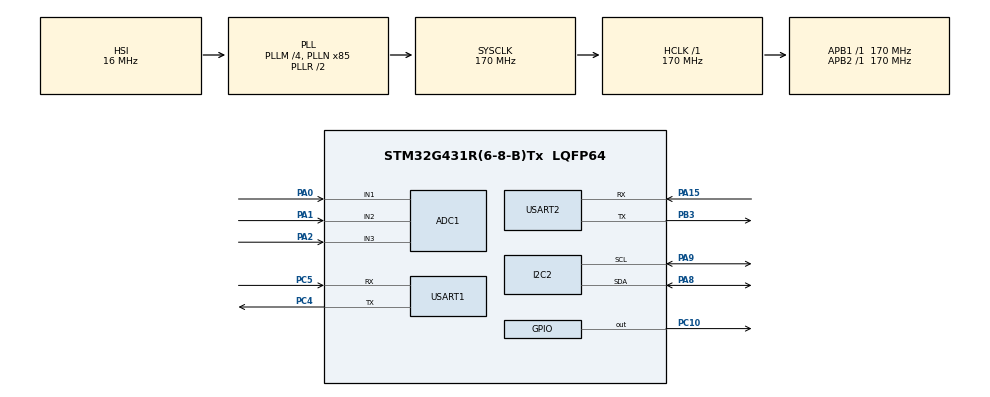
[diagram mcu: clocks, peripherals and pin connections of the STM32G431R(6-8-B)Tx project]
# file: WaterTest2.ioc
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ADC1.Channel-0\#ChannelRegularConversion=ADC_CHANNEL_1
ADC1.NbrOfConversionFlag=1
ADC1.OffsetNumber-0\#ChannelRegularConversion=ADC_OFFSET_NONE
ADC1.Rank-0\#ChannelRegularConversion=1
ADC1.SamplingTime-0\#ChannelRegularConversion=ADC_SAMPLETIME_92CYCLES_5
ADC1.master=1
I2C2.Timing=0x40B285C2
Mcu.Family=STM32G4
Mcu.Name=STM32G431R(6-8-B)Tx
Mcu.Package=LQFP64
NVIC.PriorityGroup=NVIC_PRIORITYGROUP_4
NVIC.USART1_IRQn=true\:0\:0\:false\:false\:true\:true\:true\:true
NVIC.USART2_IRQn=true\:0\:0\:false\:false\:true\:true\:true\:true
PA0.Mode=IN1-Single-Ended
PA0.Signal=ADC1_IN1
PA1.Mode=IN2-Single-Ended
PA1.Signal=ADC1_IN2
PA13.Mode=Serial_Wire
PA13.Signal=SYS_JTMS-SWDIO
PA14.Mode=Serial_Wire
PA14.Signal=SYS_JTCK-SWCLK
PA15.GPIO_Speed=GPIO_SPEED_FREQ_VERY_HIGH
PA15.Mode=Asynchronous
PA15.Signal=USART2_RX
PA2.Mode=IN3-Single-Ended
PA2.Signal=ADC1_IN3
PA8.GPIO_Speed=GPIO_SPEED_FREQ_VERY_HIGH
PA8.Mode=I2C
PA8.Signal=I2C2_SDA
PA9.GPIO_Speed=GPIO_SPEED_FREQ_VERY_HIGH
PA9.Mode=I2C
PA9.Signal=I2C2_SCL
PB3.GPIO_Speed=GPIO_SPEED_FREQ_VERY_HIGH
PB3.Mode=Asynchronous
PB3.Signal=USART2_TX
PC10.GPIO_ModeDefaultOutputPP=GPIO_MODE_OUTPUT_OD
PC10.GPIO_PuPd=GPIO_NOPULL
PC10.GPIO_Speed=GPIO_SPEED_FREQ_VERY_HIGH
PC10.Signal=GPIO_Output
PC14-OSC32_IN.Mode=LSE-External-Oscillator
PC14-OSC32_IN.Signal=RCC_OSC32_IN
PC15-OSC32_OUT.Mode=LSE-External-Oscillator
PC15-OSC32_OUT.Signal=RCC_OSC32_OUT
PC4.GPIO_Speed=GPIO_SPEED_FREQ_VERY_HIGH
PC4.Mode=Asynchronous
PC4.Signal=USART1_TX
PC5.GPIO_Speed=GPIO_SPEED_FREQ_VERY_HIGH
PC5.Mode=Asynchronous
PC5.Signal=USART1_RX
PF0-OSC_IN.Mode=HSE-External-Oscillator
PF0-OSC_IN.Signal=RCC_OSC_IN
PF1-OSC_OUT.Mode=HSE-External-Oscillator
PF1-OSC_OUT.Signal=RCC_OSC_OUT
ProjectManager.HeapSize=0x200
ProjectManager.StackSize=0x400
ProjectManager.TargetToolchain=MDK-ARM V5.32
RCC.ADC12Freq_Value=170000000
RCC.AHBFreq_Value=170000000
RCC.APB1Freq_Value=170000000
RCC.APB1TimFreq_Value=170000000
RCC.APB2Freq_Value=170000000
RCC.APB2TimFreq_Value=170000000
RCC.CortexFreq_Value=170000000
RCC.EXTERNAL_CLOCK_VALUE=12288000
RCC.HCLKFreq_Value=170000000
RCC.HSE_VALUE=16000000
RCC.HSI48_VALUE=48000000
RCC.HSI_VALUE=16000000
RCC.PLLM=RCC_PLLM_DIV4
RCC.PLLN=85
RCC.SYSCLKFreq_VALUE=170000000
RCC.SYSCLKSource=RCC_SYSCLKSOURCE_PLLCLK
RCC.USBFreq_Value=170000000
RCC.VCOOutputFreq_Value=340000000
TIM6.Prescaler=170
TIM7.PeriodNoDither=1000
TIM7.Prescaler=170
USART1.VirtualMode-Asynchronous=VM_ASYNC
USART2.VirtualMode-Asynchronous=VM_ASYNC
VP_SYS_VS_DBSignals.Mode=DisableDeadBatterySignals
VP_TIM6_VS_ClockSourceINT.Mode=Enable_Timer
VP_TIM7_VS_ClockSourceINT.Mode=Enable_Timer
board=custom

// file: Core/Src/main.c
/* USER CODE BEGIN Header */
/**
 ******************************************************************************
 * @file           : main.c
 * @brief          : Main program body
 ******************************************************************************
 * @attention
 *
 * Copyright (c) 2026 STMicroelectronics.
 * All rights reserved.
 *
 * This software is licensed under terms that can be found in the LICENSE file
 * in the root directory of this software component.
 * If no LICENSE file comes with this software, it is provided AS-IS.
 *
 ******************************************************************************
 */
/* USER CODE END Header */
#include "main.h"
#include "adc.h"
#include "i2c.h"
#include "tim.h"
#include "usart.h"
#include "gpio.h"

/* USER CODE BEGIN Includes */
#include <stdio.h>
#include <string.h>
#include "app_aht20_bmp280.h"
#include "app_debug.h"
#include "app_ds18b20.h"
#include "app_ph_sensor.h"
#include "app_tds_sensor.h"
#include "app_turbidity.h"
#include "app_json_comm.h"
/* USER CODE END Includes */

/* USER CODE BEGIN PD */
#define RX_BUFFER_SIZE 64

// 调试指令格式: 0xAA 0xAA 0xBB 0xBB (4字节序列)
#define DEBUG_CMD_BYTE0 0xAA
#define DEBUG_CMD_BYTE1 0xAA
#define DEBUG_CMD_BYTE2 0xBB
#define DEBUG_CMD_BYTE3 0xBB
/* USER CODE END PD */

/* USER CODE BEGIN PV */
// USART2接收相关变量
uint8_t usart2_rx_buffer[RX_BUFFER_SIZE];
uint16_t usart2_rx_index = 0;
uint8_t usart2_rx_complete = 0;
uint8_t cmd_rx_state = 0;       // 指令状态: 0=等AA1, 1=等AA2, 2=等BB1, 3=等BB2
uint8_t cmd_toggle_state = 0;   // 调试切换指令: 0=等CC1, 1=等CC2, 2=等CC3
uint8_t cmd_mute_state = 0;     // 静默指令: 0=等DD1, 1=等DD2, 2=等DD3
uint8_t cmd_unmute_state = 0;   // 恢复指令: 0=等EE1, 1=等EE2, 2=等EE3

volatile uint8_t tx_muted = 0;  // 0=允许USART2发送, 1=静默(禁止发送) (中断中修改)

uint8_t TestStart = 0;
uint8_t debug_mode = 0;         // 0=正常模式(周期检测), 1=调试模式(指令触发检测)

uint64_t tick_counter = 0;
uint64_t tick_heart = 0;

// 总线空闲检测：记录最后一次收到字节的时刻
uint64_t tick_last_rx = 0;

// 中断触发计数 (调试用，已注释)
// volatile uint32_t usart2_int_count = 0;

// 指令触发计数 (调试用，已注释)
// uint32_t cmd_trigger_count = 0;

// 上次发送计数器数据的时间 (调试用，已注释)
// uint32_t last_count_send_time = 0;
/* USER CODE END PV */

void SystemClock_Config(void);

int main(void)
{

  /* MCU Configuration--------------------------------------------------------*/

  /* Reset of all peripherals, Initializes the Flash interface and the Systick. */
  HAL_Init();

  /* Configure the system clock */
  SystemClock_Config();

  /* Initialize all configured peripherals */
  MX_GPIO_Init();
  MX_ADC1_Init();
  MX_I2C2_Init();
  MX_TIM6_Init();
  MX_TIM7_Init();
  MX_USART1_UART_Init();
  MX_USART2_UART_Init();
  /* USER CODE BEGIN 2 */
  // 1. 串口打印系统启动信息
  printf("\r\n--- Water Quality Monitor System Start ---\r\n");

  // 2. 初始化各传感器设备
  printf("Initializing Sensors...\r\n");

  // 初始化 TDS 传感器
  if (TDS_Init(&hadc1) == 0)
    printf("TDS Sensor: OK\r\n");
  else
    printf("TDS Sensor: FAILED\r\n");

  // 初始化 浊度 传感器
  Turbidity_Init(&hadc1);
  printf("Turbidity Sensor: OK\r\n");

  // 初始化 DS18B20 温度传感器
  if (DS18B20_Init() == 0)
    printf("DS18B20 Sensor: OK\r\n");
  else
    printf("DS18B20 Sensor: FAILED\r\n");

  // 初始化 AHT20 湿度/温度传感器
  if (AHT20_Init(&hi2c2) == 1)
    printf("AHT20 Sensor: OK\r\n");
  else
    printf("AHT20 Sensor: FAILED\r\n");

  // 初始化 BMP280 压力传感器
  if (BMP280_Init(&hi2c2) == 0x58)
    printf("BMP280 Sensor: OK\r\n");
  else
    printf("BMP280 Sensor: FAILED\r\n");

  // 初始化串口通信接收
  Comm_Init();

  // 启动USART2中断接收 (单字节模式，用于指令序列检测)
  usart2_rx_index = 0;
  usart2_rx_complete = 0;
  HAL_UART_Receive_IT(&huart2, &usart2_rx_buffer[0], 1);

  // 初始化计数变量 (调试用，已注释)
  // usart2_int_count = 0;
  // cmd_trigger_count = 0;
  // last_count_send_time = HAL_GetTick();
  tick_counter = HAL_GetTick();
  tick_heart = HAL_GetTick();
  tick_last_rx = HAL_GetTick();

  printf("Sensors Initialization Finished.\r\n\r\n");
  /* USER CODE END 2 */

  /* Infinite loop */
  /* USER CODE BEGIN WHILE */
  uint32_t last_send_time = 0;

  while (1)
  {
    // 周期性执行数据采集和发送 (间隔由 report_interval 控制)
    if (HAL_GetTick() - last_send_time >= report_interval)
    {
      last_send_time = HAL_GetTick();

      // 1. 读取水质传感数据
      float ph_val = PH_Read_Median();
      float tds_val = TDS_Read_Corrected();
      float water_temp = DS18B20_Get_Temp();

      float turbidity_val = Turbidity_Read_NTU(water_temp);

      // 2. 读取环境温湿度及气压数据
      uint32_t aht_data[2];
      float air_hum = 0, air_temp_aht = 0;
      if (AHT20_Read_CTdata(&hi2c2, aht_data) == 1)
      { // 检查成功返回1
        air_hum = (float)aht_data[0] / 1048576.0f * 100.0f;
        air_temp_aht = (float)aht_data[1] / 1048576.0f * 200.0f - 50.0f;
      }

      float pressure = 0, air_temp_bmp = 0, asl = 0;
      BMP280GetData(&hi2c2, &pressure, &air_temp_bmp, &asl);

      // 3. 数据发送（打印到串口）
      printf("--- Water Quality ---\r\n");
      printf("Water Temp: %.1f C\r\n", water_temp);
      printf("PH Value:   %.2f\r\n", ph_val);
      printf("TDS Value:  %.1f ppm\r\n", tds_val);
      printf("Turbidity:  %.1f NTU\r\n", turbidity_val);

      printf("--- Environment ---\r\n");
      printf("Air Temp:   %.1f C\r\n", air_temp_bmp);
      printf("Air Hum:    %.1f %%\r\n", air_hum);
      printf("Pressure:   %.1f hPa\r\n", pressure / 100.0f);
      printf("Altitude:   %.1f m\r\n", asl);
      printf("---------------------\r\n\r\n");

      // 4. 发送 JSON 数据到上位机 (USART2)，静默时不发送
      if (!tx_muted)
      {
        Comm_Send_Sensor_Data(ph_val, tds_val, turbidity_val, water_temp, air_temp_bmp, air_hum, pressure, asl);
      }

      // Comm_Send_Response("Active");
    }

    // 调试模式：由串口指令触发单次检测
    if (debug_mode && TestStart)
    {
      TestStart = 0;
      // 调试模式下可在此处添加单次触发的操作
      printf("Debug trigger received.\r\n");
      if (!tx_muted)
      {
        Comm_Send_Response("DebugTrigger");
      }
    }

    // 每隔10秒通过USART2发送中断计数信息 (调试完毕，已注释)
    // if (HAL_GetTick() - last_count_send_time >= 10000)
    // {
    //   last_count_send_time = HAL_GetTick();
    //
    //   if (!tx_muted)
    //   {
    //     char count_msg[128];
    //     int len = snprintf(count_msg, sizeof(count_msg),
    //                       "{\"device_id\":%d,\"int_count\":%lu,\"cmd_count\":%lu,\"status\":\"count_report\"}\r\n",
    //                       COMM_DEVICE_ID, usart2_int_count, cmd_trigger_count);
    //     HAL_UART_Transmit(&huart2, (uint8_t *)count_msg, len, 1000);
    //   }
    // }
    /* USER CODE END WHILE */

  }
}

void SystemClock_Config(void)
{
  RCC_OscInitTypeDef RCC_OscInitStruct = {0};
  RCC_ClkInitTypeDef RCC_ClkInitStruct = {0};

  /** Configure the main internal regulator output voltage
  */
  HAL_PWREx_ControlVoltageScaling(PWR_REGULATOR_VOLTAGE_SCALE1_BOOST);

  /** Initializes the RCC Oscillators according to the specified parameters
  * in the RCC_OscInitTypeDef structure.
  */
  RCC_OscInitStruct.OscillatorType = RCC_OSCILLATORTYPE_HSI;
  RCC_OscInitStruct.HSIState = RCC_HSI_ON;
  RCC_OscInitStruct.HSICalibrationValue = RCC_HSICALIBRATION_DEFAULT;
  RCC_OscInitStruct.PLL.PLLState = RCC_PLL_ON;
  RCC_OscInitStruct.PLL.PLLSource = RCC_PLLSOURCE_HSI;
  RCC_OscInitStruct.PLL.PLLM = RCC_PLLM_DIV4;
  RCC_OscInitStruct.PLL.PLLN = 85;
  RCC_OscInitStruct.PLL.PLLP = RCC_PLLP_DIV2;
  RCC_OscInitStruct.PLL.PLLQ = RCC_PLLQ_DIV2;
  RCC_OscInitStruct.PLL.PLLR = RCC_PLLR_DIV2;
  if (HAL_RCC_OscConfig(&RCC_OscInitStruct) != HAL_OK)
  {
    Error_Handler();
  }

  /** Initializes the CPU, AHB and APB buses clocks
  */
  RCC_ClkInitStruct.ClockType = RCC_CLOCKTYPE_HCLK|RCC_CLOCKTYPE_SYSCLK
                              |RCC_CLOCKTYPE_PCLK1|RCC_CLOCKTYPE_PCLK2;
  RCC_ClkInitStruct.SYSCLKSource = RCC_SYSCLKSOURCE_PLLCLK;
  RCC_ClkInitStruct.AHBCLKDivider = RCC_SYSCLK_DIV1;
  RCC_ClkInitStruct.APB1CLKDivider = RCC_HCLK_DIV1;
  RCC_ClkInitStruct.APB2CLKDivider = RCC_HCLK_DIV1;

  if (HAL_RCC_ClockConfig(&RCC_ClkInitStruct, FLASH_LATENCY_4) != HAL_OK)
  {
    Error_Handler();
  }
}

/* USER CODE BEGIN 4 */

void HAL_UART_RxCpltCallback(UART_HandleTypeDef *huart)
{
  if (huart->Instance == USART2)
  {
    // 中断触发计数加1 (调试用，已注释)
    // usart2_int_count++;

    tick_last_rx = HAL_GetTick();  // 更新最后收到字节的时刻
    uint8_t received_byte = usart2_rx_buffer[usart2_rx_index];

    // 指令格式: 0xAA 0xAA 0xBB 0xBB (4字节序列状态机)
    switch (cmd_rx_state)
    {
    case 0:  // 等待第一个 0xAA
      if (received_byte == DEBUG_CMD_BYTE0)
      {
        cmd_rx_state = 1;
      }
      break;

    case 1:  // 等待第二个 0xAA
      if (received_byte == DEBUG_CMD_BYTE1)
      {
        cmd_rx_state = 2;
      }
      else
      {
        cmd_rx_state = 0;
      }
      break;

    case 2:  // 等待第一个 0xBB
      if (received_byte == DEBUG_CMD_BYTE2)
      {
        cmd_rx_state = 3;
      }
      else
      {
        cmd_rx_state = 0;
      }
      break;

    case 3:  // 等待第二个 0xBB → 指令完成
      if (received_byte == DEBUG_CMD_BYTE3)
      {
        TestStart = 1;        // 触发单次检测
        // cmd_trigger_count++;  // 指令触发计数加1 (调试用，已注释)
      }
      cmd_rx_state = 0;  // 无论匹配与否, 均重置状态
      break;
    }

    // 调试模式切换指令: 0xCC 0xCC 0xCC (3字节序列)
    switch (cmd_toggle_state)
    {
    case 0:  // 等待第一个 0xCC
      if (received_byte == 0xCC)
      {
        cmd_toggle_state = 1;
      }
      break;

    case 1:  // 等待第二个 0xCC
      if (received_byte == 0xCC)
      {
        cmd_toggle_state = 2;
      }
      else
      {
        cmd_toggle_state = 0;
      }
      break;

    case 2:  // 等待第三个 0xCC → 切换调试模式
      if (received_byte == 0xCC)
      {
        debug_mode = !debug_mode;
      }
      cmd_toggle_state = 0;
      break;
    }

    // 静默开启指令: 0xDD 0xDD 0xDD
    switch (cmd_mute_state)
    {
    case 0:
      if (received_byte == 0xDD) { cmd_mute_state = 1; }
      break;
    case 1:
      if (received_byte == 0xDD) { cmd_mute_state = 2; }
      else { cmd_mute_state = 0; }
      break;
    case 2:
      if (received_byte == 0xDD) { tx_muted = 1; }
      cmd_mute_state = 0;
      break;
    }

    // 静默关闭指令: 0xEE 0xEE 0xEE
    switch (cmd_unmute_state)
    {
    case 0:
      if (received_byte == 0xEE) { cmd_unmute_state = 1; }
      break;
    case 1:
      if (received_byte == 0xEE) { cmd_unmute_state = 2; }
      else { cmd_unmute_state = 0; }
      break;
    case 2:
      if (received_byte == 0xEE) { tx_muted = 0; }
      cmd_unmute_state = 0;
      break;
    }

    // 继续接收下一个字节
    if (usart2_rx_index < RX_BUFFER_SIZE - 1)
    {
      usart2_rx_index++;
      HAL_UART_Receive_IT(&huart2, &usart2_rx_buffer[usart2_rx_index], 1);
    }
    else
    {
      // 缓冲区满，重置索引
      usart2_rx_index = 0;
      HAL_UART_Receive_IT(&huart2, &usart2_rx_buffer[usart2_rx_index], 1);
    }
  }
}

// 错误回调
void HAL_UART_ErrorCallback(UART_HandleTypeDef *huart)
{
  if (huart->Instance == USART2)
  {
    // 清除错误标志
    __HAL_UART_CLEAR_OREFLAG(huart);
    __HAL_UART_CLEAR_NEFLAG(huart);
    __HAL_UART_CLEAR_FEFLAG(huart);
    __HAL_UART_CLEAR_PEFLAG(huart);

    // 重新启动中断接收
    HAL_UART_Receive_IT(&huart2, &usart2_rx_buffer[0], 1);
  }
}
/* USER CODE END 4 */

void Error_Handler(void)
{
  __disable_irq();
  while (1)
  {
  }
}
